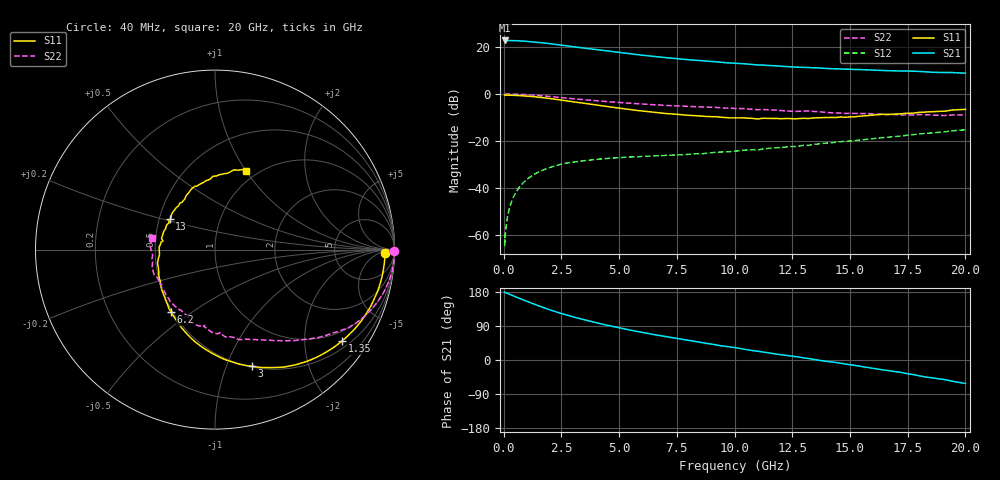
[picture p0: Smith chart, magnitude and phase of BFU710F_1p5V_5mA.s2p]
! Filename:  P:\Prog\Test\Noise\ATS_data\Testdata_Net\BFU710\BFU710_2W_A1_1.5V5mA_D.s2p
! Date/Time: Fri 29/Apr/2011 13:25:44
! BFU710_2W_A1_1.5V5mA
! bias mode 1: Vout= 1.5002 V, Iout= 4.9950 mA, Vin= 0.8248 V, Iin= 0.0173 mA
! Date/time Wed Mar 16 12:41:21 2011
! Device data file deembeded for feedlines and parallel
! Original file: \BFU710\BFU710_2W_A1_1.5V5mA_R.s2p
! Feed-files: PR003V01_101208_Feed1.s2p, PR003V01_101208_Feed2.s2p
! Parallel-file: PR003V01_101208_Par.s2p
# MHz S MA R 50
!  Freq-MHz  S11-mag  S11-arg  S21-mag  S21-arg  S12-mag  S12-arg  S22-mag  S22-arg
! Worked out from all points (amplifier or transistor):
!   167 points, 40 MHz to 20 GHz, reference 50 ohm
!   highest |S21| = 22.8 dB at 50 MHz (marker M1)
!   |S21| within 3 dB of that: start of sweep to 3.275 GHz
!   unconditionally stable (mu >= 1): 6.654 GHz to 17.31 GHz
!   at 550 MHz: K = 0.03, MSG = 32.1 dB, |S12| = -41.5 dB
!   at 4.2 GHz: K = 0.63, MSG = 23.1 dB, |S12| = -27.6 dB
!   at 20 GHz: K = 0.83, MSG = 12.0 dB, |S12| = -15.2 dB
!   S11 on the Smith chart (normalised r, x): 40 MHz: 33, -11; 1.35 GHz: 0.70, -2.96; 3 GHz: 0.51, -1.23; 6.2 GHz: 0.49, -0.42; 13 GHz: 0.57, +0.21; 20 GHz: 0.89, +1.00
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40  0.9472 -1.1  13.73 179.0  0.0005816 89.4  0.9984 -0.3
50  0.9429 -1.8  13.78 178.3  0.00102 61.0  0.9987 -0.5
60  0.9455 -1.4  13.62 178.2  0.0006923 82.9  0.9994 -0.6
140  0.9466 -3.7  13.72 176.5  0.002072 89.8  0.9999 -1.9
260  0.9445 -7.0  13.72 173.4  0.003885 88.7  0.9989 -3.7
600  0.9309 -16.2  13.62 164.6  0.009199 82.5  0.9897 -8.7
1000  0.9044 -26.7  13.21 154.8  0.0152 75.2  0.9686 -14.4
1350  0.8723 -35.6  12.75 146.7  0.01993 69.4  0.9433 -19.1
1750  0.8306 -45.4  12.2 137.8  0.02468 63.5  0.9107 -24.0
2100  0.7904 -53.6  11.63 130.4  0.0284 59.0  0.8802 -28.1
3000  0.6815 -72.4  10.16 114.0  0.0356 48.1  0.7937 -36.3
3400  0.641 -79.9  9.587 107.5  0.03774 44.9  0.7637 -39.6
4100  0.5741 -92.3  8.657 97.0  0.04113 40.2  0.7131 -44.5
4800  0.5162 -104.0  7.846 87.4  0.04379 36.3  0.6716 -49.1
6200  0.4256 -125.1  6.533 70.5  0.04745 31.4  0.6042 -57.1
6800  0.3956 -133.7  6.089 64.0  0.04883 30.1  0.582 -60.3
8200  0.3494 -152.7  5.283 49.8  0.05305 29.2  0.541 -68.3
10200  0.3105 -179.3  4.465 30.8  0.06211 27.8  0.4915 -81.2
13000  0.3043 146.0  3.712 5.6  0.08128 23.7  0.4348 -101.8
13400  0.3095 141.9  3.613 1.8  0.08515 22.6  0.4275 -106.7
16800  0.3716 104.1  3.124 -29.0  0.1217 9.3  0.364 -141.3
20000  0.4728 68.5  2.774 -61.8  0.1743 -11.5  0.356 169.9
